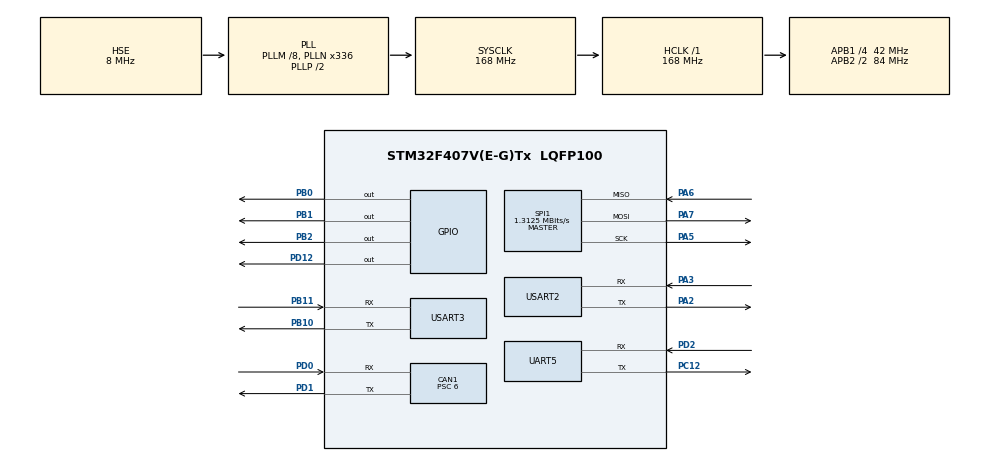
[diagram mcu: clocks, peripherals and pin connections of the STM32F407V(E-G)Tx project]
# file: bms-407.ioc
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CAN1.ABOM=ENABLE
CAN1.AWUM=ENABLE
CAN1.BS1=CAN_BS1_11TQ
CAN1.BS2=CAN_BS2_2TQ
CAN1.CalculateBaudRate=500000
CAN1.CalculateTimeBit=2000
CAN1.CalculateTimeQuantum=142.85714285714286
CAN1.NART=ENABLE
CAN1.Prescaler=6
FREERTOS.Tasks01=defaultTask,24,128,StartDefaultTask,Default,NULL,Dynamic,NULL,NULL
FREERTOS.configUSE_NEWLIB_REENTRANT=1
Mcu.Family=STM32F4
Mcu.Name=STM32F407V(E-G)Tx
Mcu.Package=LQFP100
NVIC.CAN1_RX0_IRQn=true\:5\:0\:false\:false\:true\:true\:true\:true\:true
NVIC.PriorityGroup=NVIC_PRIORITYGROUP_4
NVIC.TIM4_IRQn=true\:15\:0\:false\:false\:true\:false\:false\:true\:true
NVIC.TimeBase=TIM4_IRQn
NVIC.TimeBaseIP=TIM4
PA13.Mode=Serial_Wire
PA13.Signal=SYS_JTMS-SWDIO
PA14.Mode=Serial_Wire
PA14.Signal=SYS_JTCK-SWCLK
PA2.Mode=Asynchronous
PA2.Signal=USART2_TX
PA3.Mode=Asynchronous
PA3.Signal=USART2_RX
PA5.Mode=Full_Duplex_Master
PA5.Signal=SPI1_SCK
PA6.Mode=Full_Duplex_Master
PA6.Signal=SPI1_MISO
PA7.Mode=Full_Duplex_Master
PA7.Signal=SPI1_MOSI
PB0.Signal=GPIO_Output
PB1.Signal=GPIO_Output
PB10.Mode=Asynchronous
PB10.Signal=USART3_TX
PB11.Mode=Asynchronous
PB11.Signal=USART3_RX
PB2.Signal=GPIO_Output
PC12.Mode=Asynchronous
PC12.Signal=UART5_TX
PD0.Mode=CAN_Activate
PD0.Signal=CAN1_RX
PD1.Mode=CAN_Activate
PD1.Signal=CAN1_TX
PD12.Signal=GPIO_Output
PD2.Mode=Asynchronous
PD2.Signal=UART5_RX
PH0-OSC_IN.Mode=HSE-External-Oscillator
PH0-OSC_IN.Signal=RCC_OSC_IN
PH1-OSC_OUT.Mode=HSE-External-Oscillator
PH1-OSC_OUT.Signal=RCC_OSC_OUT
ProjectManager.HeapSize=0x200
ProjectManager.StackSize=0x400
ProjectManager.TargetToolchain=STM32CubeIDE
RCC.48MHZClocksFreq_Value=84000000
RCC.AHBFreq_Value=168000000
RCC.APB1CLKDivider=RCC_HCLK_DIV4
RCC.APB1Freq_Value=42000000
RCC.APB1TimFreq_Value=84000000
RCC.APB2CLKDivider=RCC_HCLK_DIV2
RCC.APB2Freq_Value=84000000
RCC.APB2TimFreq_Value=168000000
RCC.CortexFreq_Value=168000000
RCC.HCLKFreq_Value=168000000
RCC.HSE_VALUE=8000000
RCC.HSI_VALUE=16000000
RCC.LSE_VALUE=32768
RCC.PLLM=8
RCC.PLLN=336
RCC.PLLSourceVirtual=RCC_PLLSOURCE_HSE
RCC.SYSCLKFreq_VALUE=168000000
RCC.SYSCLKSource=RCC_SYSCLKSOURCE_PLLCLK
RCC.VCOOutputFreq_Value=336000000
SPI1.BaudRatePrescaler=SPI_BAUDRATEPRESCALER_64
SPI1.CalculateBaudRate=1.3125 MBits/s
SPI1.Direction=SPI_DIRECTION_2LINES
SPI1.Mode=SPI_MODE_MASTER
SPI1.VirtualType=VM_MASTER
UART5.VirtualMode=Asynchronous
USART2.VirtualMode=VM_ASYNC
USART3.VirtualMode=VM_ASYNC
VP_FREERTOS_VS_CMSIS_V2.Mode=CMSIS_V2
VP_SYS_VS_tim4.Mode=TIM4
VP_TIM2_VS_ClockSourceINT.Mode=Internal
board=custom

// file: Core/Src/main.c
/* USER CODE BEGIN Header */
/**
  ******************************************************************************
  * @file           : main.c
  * @brief          : Main program body
  ******************************************************************************
  * @attention
  *
  * Copyright (c) 2024 STMicroelectronics.
  * All rights reserved.
  *
  * This software is licensed under terms that can be found in the LICENSE file
  * in the root directory of this software component.
  * If no LICENSE file comes with this software, it is provided AS-IS.
  *
  ******************************************************************************
  */
/* USER CODE END Header */
#include "main.h"
#include "cmsis_os.h"

/* USER CODE BEGIN Includes */
#include <stdint.h>
#include <string.h>
#include "custom_bms.h"
#include "adBms6830GenericType.h"
#include "adBms6830Data.h"
#include "mcu_wrapper.h"

#include "bms_rtosHelper.h"
#include "bms_can.h"

/* USER CODE END Includes */

/* USER CODE BEGIN PD */

#define SHUNT 						50
#define C_VOLT_CONV(v)				((v + 10000) * 0.000150)
/*
This formula is really weird. It gives us the reading in minivolts.
The key is that >> and << are arithmetic shifts and >>> and <<< are logical shifts.
The reason why we left shift, type cast to int32 and the right shift again is because 2950
stores the value as a signed 18 bit number with the 17th bit(0 indexing) being the sign bit.
By left shifting the value by [32 - 18 = 14], and type casting it to an int32, we put the
17th bit as the 31st bit. Now if we arithmetic right shift by 14, the 31st bit is not shifted
and it maintains its polarity.
*/
#define AMP_CONV(v)					1e-6*((int32_t)((v) << 14)>>14); // Needs to give us Amps.

// old formula (v*0.00015) + 1.5
/* USER CODE END PD */

CAN_HandleTypeDef hcan1;

SPI_HandleTypeDef hspi1;

TIM_HandleTypeDef htim2;

UART_HandleTypeDef huart5;
UART_HandleTypeDef huart2;
UART_HandleTypeDef huart3;

/* Definitions for defaultTask */
osThreadId_t defaultTaskHandle;
const osThreadAttr_t defaultTask_attributes = {
  .name = "defaultTask",
  .stack_size = 128 * 4,
  .priority = (osPriority_t) osPriorityNormal,
};
/* USER CODE BEGIN PV */

osMutexId_t oCANMutex;
osMessageQueueId_t oBMSErrorMsgQueue;
osMessageQueueId_t oBMSCANMsgQueue;

/* USER CODE END PV */

void SystemClock_Config(void);
static void MX_GPIO_Init(void);
static void MX_CAN1_Init(void);
static void MX_SPI1_Init(void);
static void MX_TIM2_Init(void);
static void MX_UART5_Init(void);
static void MX_USART2_UART_Init(void);
static void MX_USART3_UART_Init(void);
void StartDefaultTask(void *argument);

/* USER CODE BEGIN PFP */
int __io_putchar(int ch); // Printf works on uart4. Usart1 pins are used for something else on DISCO Board

int current_loop(void);
int voltage_loop(void);

//void parse_print_cell_measurement(uint8_t* buff);
//void parse_print_gpio_measurement(uint8_t* buff);
//void hex_dump(u8 * buff, int nBytes);
/* USER CODE END PFP */

int main(void)
{

  /* MCU Configuration--------------------------------------------------------*/

  /* Reset of all peripherals, Initializes the Flash interface and the Systick. */
  HAL_Init();

  /* Configure the system clock */
  SystemClock_Config();

  /* Initialize all configured peripherals */
  MX_GPIO_Init();
  MX_CAN1_Init();
  MX_SPI1_Init();
  MX_TIM2_Init();
  MX_UART5_Init();
  MX_USART2_UART_Init();
  MX_USART3_UART_Init();

  /* Init scheduler */
  osKernelInitialize();

  /* Create the thread(s) */
  /* creation of defaultTask */
  defaultTaskHandle = osThreadNew(StartDefaultTask, NULL, &defaultTask_attributes);

  /* USER CODE BEGIN RTOS_THREADS */
  /* add threads, ... */
  if(init_error_handler()) Error_Handler();

  CAN_rtosSetup();
  rtosHelperSetup();

  /* USER CODE END RTOS_THREADS */

  /* Start scheduler */
  osKernelStart();

  /* We should never get here as control is now taken by the scheduler */
  /* Infinite loop */
  /* USER CODE BEGIN WHILE */
  configBMS();
  while (1)
  {

//	  readSID();
//	  configBMS();

//	  readStatErr();

//	  readCFG();
//	  voltage_loop();

//	  HAL_Delay(1500);
//	  printf("\n\rALIVE \n\r");
    /* USER CODE END WHILE */

  }
}

void SystemClock_Config(void)
{
  RCC_OscInitTypeDef RCC_OscInitStruct = {0};
  RCC_ClkInitTypeDef RCC_ClkInitStruct = {0};

  /** Configure the main internal regulator output voltage
  */
  __HAL_RCC_PWR_CLK_ENABLE();
  __HAL_PWR_VOLTAGESCALING_CONFIG(PWR_REGULATOR_VOLTAGE_SCALE1);

  /** Initializes the RCC Oscillators according to the specified parameters
  * in the RCC_OscInitTypeDef structure.
  */
  RCC_OscInitStruct.OscillatorType = RCC_OSCILLATORTYPE_HSE;
  RCC_OscInitStruct.HSEState = RCC_HSE_ON;
  RCC_OscInitStruct.PLL.PLLState = RCC_PLL_ON;
  RCC_OscInitStruct.PLL.PLLSource = RCC_PLLSOURCE_HSE;
  RCC_OscInitStruct.PLL.PLLM = 8;
  RCC_OscInitStruct.PLL.PLLN = 336;
  RCC_OscInitStruct.PLL.PLLP = RCC_PLLP_DIV2;
  RCC_OscInitStruct.PLL.PLLQ = 4;
  if (HAL_RCC_OscConfig(&RCC_OscInitStruct) != HAL_OK)
  {
    Error_Handler();
  }

  /** Initializes the CPU, AHB and APB buses clocks
  */
  RCC_ClkInitStruct.ClockType = RCC_CLOCKTYPE_HCLK|RCC_CLOCKTYPE_SYSCLK
                              |RCC_CLOCKTYPE_PCLK1|RCC_CLOCKTYPE_PCLK2;
  RCC_ClkInitStruct.SYSCLKSource = RCC_SYSCLKSOURCE_PLLCLK;
  RCC_ClkInitStruct.AHBCLKDivider = RCC_SYSCLK_DIV1;
  RCC_ClkInitStruct.APB1CLKDivider = RCC_HCLK_DIV4;
  RCC_ClkInitStruct.APB2CLKDivider = RCC_HCLK_DIV2;

  if (HAL_RCC_ClockConfig(&RCC_ClkInitStruct, FLASH_LATENCY_5) != HAL_OK)
  {
    Error_Handler();
  }
}

static void MX_CAN1_Init(void)
{

  hcan1.Instance = CAN1;
  hcan1.Init.Prescaler = 6;
  hcan1.Init.Mode = CAN_MODE_NORMAL;
  hcan1.Init.SyncJumpWidth = CAN_SJW_1TQ;
  hcan1.Init.TimeSeg1 = CAN_BS1_11TQ;
  hcan1.Init.TimeSeg2 = CAN_BS2_2TQ;
  hcan1.Init.TimeTriggeredMode = DISABLE;
  hcan1.Init.AutoBusOff = ENABLE;
  hcan1.Init.AutoWakeUp = ENABLE;
  hcan1.Init.AutoRetransmission = ENABLE;
  hcan1.Init.ReceiveFifoLocked = DISABLE;
  hcan1.Init.TransmitFifoPriority = DISABLE;
  if (HAL_CAN_Init(&hcan1) != HAL_OK)
  {
    Error_Handler();
  }

}

static void MX_SPI1_Init(void)
{

  /* SPI1 parameter configuration*/
  hspi1.Instance = SPI1;
  hspi1.Init.Mode = SPI_MODE_MASTER;
  hspi1.Init.Direction = SPI_DIRECTION_2LINES;
  hspi1.Init.DataSize = SPI_DATASIZE_8BIT;
  hspi1.Init.CLKPolarity = SPI_POLARITY_LOW;
  hspi1.Init.CLKPhase = SPI_PHASE_1EDGE;
  hspi1.Init.NSS = SPI_NSS_SOFT;
  hspi1.Init.BaudRatePrescaler = SPI_BAUDRATEPRESCALER_64;
  hspi1.Init.FirstBit = SPI_FIRSTBIT_MSB;
  hspi1.Init.TIMode = SPI_TIMODE_DISABLE;
  hspi1.Init.CRCCalculation = SPI_CRCCALCULATION_DISABLE;
  hspi1.Init.CRCPolynomial = 10;
  if (HAL_SPI_Init(&hspi1) != HAL_OK)
  {
    Error_Handler();
  }

}

static void MX_TIM2_Init(void)
{

  TIM_ClockConfigTypeDef sClockSourceConfig = {0};
  TIM_MasterConfigTypeDef sMasterConfig = {0};

  htim2.Instance = TIM2;
  htim2.Init.Prescaler = 0;
  htim2.Init.CounterMode = TIM_COUNTERMODE_UP;
  htim2.Init.Period = 4294967295;
  htim2.Init.ClockDivision = TIM_CLOCKDIVISION_DIV1;
  htim2.Init.AutoReloadPreload = TIM_AUTORELOAD_PRELOAD_DISABLE;
  if (HAL_TIM_Base_Init(&htim2) != HAL_OK)
  {
    Error_Handler();
  }
  sClockSourceConfig.ClockSource = TIM_CLOCKSOURCE_INTERNAL;
  if (HAL_TIM_ConfigClockSource(&htim2, &sClockSourceConfig) != HAL_OK)
  {
    Error_Handler();
  }
  sMasterConfig.MasterOutputTrigger = TIM_TRGO_RESET;
  sMasterConfig.MasterSlaveMode = TIM_MASTERSLAVEMODE_DISABLE;
  if (HAL_TIMEx_MasterConfigSynchronization(&htim2, &sMasterConfig) != HAL_OK)
  {
    Error_Handler();
  }

}

static void MX_UART5_Init(void)
{

  huart5.Instance = UART5;
  huart5.Init.BaudRate = 115200;
  huart5.Init.WordLength = UART_WORDLENGTH_8B;
  huart5.Init.StopBits = UART_STOPBITS_1;
  huart5.Init.Parity = UART_PARITY_NONE;
  huart5.Init.Mode = UART_MODE_TX_RX;
  huart5.Init.HwFlowCtl = UART_HWCONTROL_NONE;
  huart5.Init.OverSampling = UART_OVERSAMPLING_16;
  if (HAL_UART_Init(&huart5) != HAL_OK)
  {
    Error_Handler();
  }

}

static void MX_USART2_UART_Init(void)
{

  huart2.Instance = USART2;
  huart2.Init.BaudRate = 115200;
  huart2.Init.WordLength = UART_WORDLENGTH_8B;
  huart2.Init.StopBits = UART_STOPBITS_1;
  huart2.Init.Parity = UART_PARITY_NONE;
  huart2.Init.Mode = UART_MODE_TX_RX;
  huart2.Init.HwFlowCtl = UART_HWCONTROL_NONE;
  huart2.Init.OverSampling = UART_OVERSAMPLING_16;
  if (HAL_UART_Init(&huart2) != HAL_OK)
  {
    Error_Handler();
  }

}

static void MX_USART3_UART_Init(void)
{

  huart3.Instance = USART3;
  huart3.Init.BaudRate = 115200;
  huart3.Init.WordLength = UART_WORDLENGTH_8B;
  huart3.Init.StopBits = UART_STOPBITS_1;
  huart3.Init.Parity = UART_PARITY_NONE;
  huart3.Init.Mode = UART_MODE_TX_RX;
  huart3.Init.HwFlowCtl = UART_HWCONTROL_NONE;
  huart3.Init.OverSampling = UART_OVERSAMPLING_16;
  if (HAL_UART_Init(&huart3) != HAL_OK)
  {
    Error_Handler();
  }

}

static void MX_GPIO_Init(void)
{
  GPIO_InitTypeDef GPIO_InitStruct = {0};

  /* GPIO Ports Clock Enable */
  __HAL_RCC_GPIOH_CLK_ENABLE();
  __HAL_RCC_GPIOA_CLK_ENABLE();
  __HAL_RCC_GPIOB_CLK_ENABLE();
  __HAL_RCC_GPIOD_CLK_ENABLE();
  __HAL_RCC_GPIOC_CLK_ENABLE();

  /*Configure GPIO pin Output Level */
  HAL_GPIO_WritePin(GPIOB, GPIO_PIN_0|GPIO_PIN_1|GPIO_PIN_2, GPIO_PIN_RESET);

  /*Configure GPIO pin Output Level */
  HAL_GPIO_WritePin(GPIOD, GPIO_PIN_12, GPIO_PIN_RESET);

  /*Configure GPIO pins : PB0 PB1 PB2 */
  GPIO_InitStruct.Pin = GPIO_PIN_0|GPIO_PIN_1|GPIO_PIN_2;
  GPIO_InitStruct.Mode = GPIO_MODE_OUTPUT_PP;
  GPIO_InitStruct.Pull = GPIO_NOPULL;
  GPIO_InitStruct.Speed = GPIO_SPEED_FREQ_LOW;
  HAL_GPIO_Init(GPIOB, &GPIO_InitStruct);

  /*Configure GPIO pin : PD12 */
  GPIO_InitStruct.Pin = GPIO_PIN_12;
  GPIO_InitStruct.Mode = GPIO_MODE_OUTPUT_PP;
  GPIO_InitStruct.Pull = GPIO_NOPULL;
  GPIO_InitStruct.Speed = GPIO_SPEED_FREQ_LOW;
  HAL_GPIO_Init(GPIOD, &GPIO_InitStruct);

}

/* USER CODE BEGIN 4 */
int current_loop(void){
	/*
	 * Current measurement from 2950
	 */
	return 0;
}

int can_loop(void){
	/*
	 * Handle comm with aux computer
	 */

	return 0;
}

//int voltage_loop(void){
////	wakeup_chain(TOTAL_IC);
//	u8 cellVReg[32 * TOTAL_IC];		//RDCVALL Size .. Just padding
//	u8 auxVReg[24 * TOTAL_IC];			// Total Aux2 reg size + 2 for padding
//	memset(cellVReg, 0x00, 32 * TOTAL_IC);
//	memset(auxVReg, 0x00, 24 * TOTAL_IC);
//	uint32_t timeStamp = 0;
//	uint32_t timeStamp2 = 0;
//
//	/*
//	 * Tasks:
//	 * 1. Measure cell voltages
//	 * 2. Measure cell temperatures
//	 */
//
//	timeStamp = HAL_GetTick();
//	printf("\n\rPEC: %d",pollCellVoltage(cellVReg));
//	timeStamp2 = HAL_GetTick() - timeStamp;
//	printf("\n\rCell Mes Time stamp: %lu ",timeStamp2);
//	printf("\n \r CELL VOLTAGE \n\r");
//	parse_print_cell_measurement(cellVReg);
//
////	hex_dump(cellVReg, 32*TOTAL_IC);
//
//
//	timeStamp = HAL_GetTick();
//	printf("PEC: %d",pollAuxVoltage(auxVReg));
//	printf("\n\rGPIO Time stamp: %lu ", HAL_GetTick() - timeStamp);
////	parse_print_gpio_measurement(auxVReg);
//	printf("\n \r AUX VALUES \n\r");
////	hex_dump(auxVReg, 24*TOTAL_IC);
//
//
//	return 0;
//}

//void parse_print_cell_measurement(uint8_t* buff){
//	int16_t cell_values[16*TOTAL_IC];
//	memset(cell_values, 0x0000, 16*TOTAL_IC*sizeof(uint16_t));
//
//		FORIN(x, 16*(TOTAL_IC-1)){ // Why is it like this
//		float temp = 0.0;
//		cell_values[x] = buff[2*x]|buff[2*x + 1]<<8; // Not using memcpy because I am not sure about endianness
//		temp = C_VOLT_CONV(cell_values[x]);
//
//		printf("%.02f  ", temp);
////		printf("%d  ", cell_values[x]);
//		int __x = (x+1)%8? 0:  printf("\n\r"); // Hacky Prints a new line only every eight values
//	}
//	double Val2950[2] = {0, 0};
//	Val2950[0] = AMP_CONV(buff[36]|buff[37]<<8|buff[38]<<16);
//	Val2950[1] = AMP_CONV(buff[39]|buff[40]<<8|buff[41]<<16);
//
//	printf("\n\r Current Values: %.02lf %.02lf \n\r", Val2950[0], Val2950[1]);
//
//
//}

/*
 * @brief Sends config data at startup
 */

// Just printing values for now
//void parse_print_cell_measurement(uint8_t* buff){
//	int16_t cell_values[16*TOTAL_IC];
//	memset(cell_values, 0x0000, 16*TOTAL_IC*sizeof(uint16_t));
//
//		FORIN(x, 16*(TOTAL_IC-1)){ // Why is it like this
//		float temp = 0.0;
//		cell_values[x] = buff[2*x]|buff[2*x + 1]<<8; // Not using memcpy because I am not sure about endianness
//		temp = C_VOLT_CONV(cell_values[x]);
//
//		printf("%.02f  ", temp);
////		printf("%d  ", cell_values[x]);
//		int __x = (x+1)%8? 0:  printf("\n\r"); // Hacky Prints a new line only every eight values
//	}
//	double Val2950[2] = {0, 0};
//	Val2950[0] = AMP_CONV(buff[36]|buff[37]<<8|buff[38]<<16);
//	Val2950[1] = AMP_CONV(buff[39]|buff[40]<<8|buff[41]<<16);
//
//	printf("\n\r Current Values: %.02lf %.02lf \n\r", Val2950[0], Val2950[1]);
//
//
//}

// Dirty parsing function. ONLY FOR TESTING
// Final parsing needs to be more intelligent
//void parse_print_cell_measurement(uint8_t* buff){
//	double curr_1 = AMP_CONV(buff[2]<<16|buff[1]<<8|buff[0]);
//	double curr_2 = AMP_CONV(buff[5]<<16|buff[4]<<8|buff[3]);
//
//
//	int16_t cell_0 = buff[6]|buff[7]<<8;
//	int16_t cell_1 = buff[8]|buff[9]<<8;
//	int16_t cell_2 = buff[10]|buff[11]<<8;
//
//	printf("\n\r Cell measurements: %.02f %.02f %.02f", C_VOLT_CONV(cell_0), C_VOLT_CONV(cell_1), C_VOLT_CONV(cell_2));
//	printf("\n\r Current measurements: %.06f %.06f \n\r", curr_1/0.00005, curr_2/0.00005);
//
//}
//
//void parse_print_gpio_measurement(uint8_t* buff){
//	int16_t gpio_values[20*TOTAL_IC];
//	float temp = 0.0;
//	printf("\n\rGPIO VALUES: \n\r"); // Remove later.
//	FORIN(x, 10*TOTAL_IC){
//		gpio_values[x] = buff[2*x]|buff[2*x + 1]<<8; // Not using memcpy because I am not sure about endianness
//		temp = C_VOLT_CONV(gpio_values[x]);
//
//		printf("%.02f  ", temp);
//		printf("%d  ", gpio_values[x]);
//		int __x = (x+1)%8? 0 : printf("\n\r"); // Hacky// Prints a new line only every eight values
//	}
//
//}

//
//void hex_dump(u8 * buff, int nBytes){
//	FORIN(i, nBytes){
//		printf("%02x ", buff[i]);
//		int __x = (i+1)%6? 0 : printf("\n\r"); // Hacky// Prints a new line only every eight values
//	}
//}

/*
 * Not using itm since it needs debug mode to run and isoSPI needs
 */
int __io_putchar(int ch){

//		ITM_SendChar(ch);
		HAL_UART_Transmit(&huart2, (uint8_t *)&ch, 1, HAL_MAX_DELAY);
		return(ch);
}

/* USER CODE END 4 */

void StartDefaultTask(void *argument)
{
  for(;;)
  {
    osDelay(1);
  }
}

void HAL_TIM_PeriodElapsedCallback(TIM_HandleTypeDef *htim)
{
  if (htim->Instance == TIM4) {
    HAL_IncTick();
  }
}

void Error_Handler(void)
{
  /* USER CODE BEGIN Error_Handler_Debug */
  /* User can add his own implementation to report the HAL error return state */
  __disable_irq();
  HAL_GPIO_WritePin(GPIOD, GPIO_PIN_12, GPIO_PIN_SET);
  while (1)
  {
  }
  /* USER CODE END Error_Handler_Debug */
}
